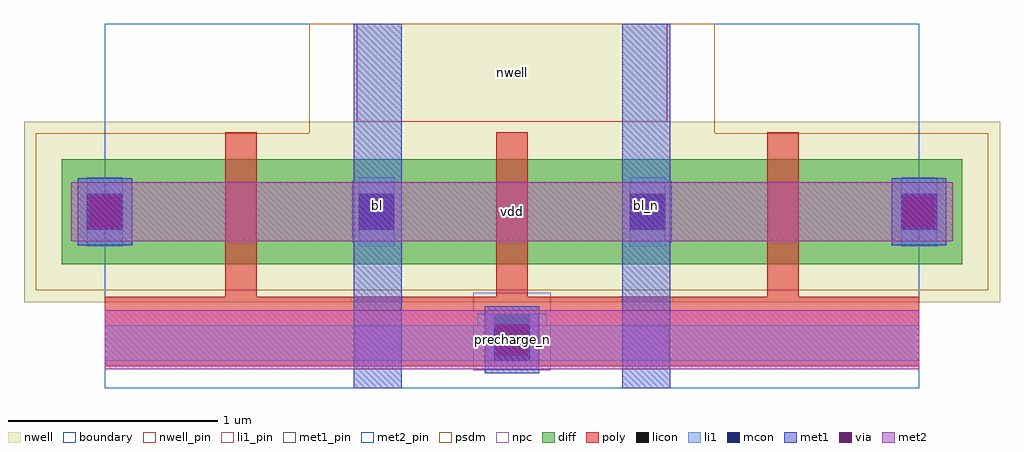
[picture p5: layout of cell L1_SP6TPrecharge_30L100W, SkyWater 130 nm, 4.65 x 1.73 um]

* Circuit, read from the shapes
.subckt L1_SP6TPrecharge_30L100W bl bl_n nwell precharge_n vdd
XM1 bl precharge_n vdd nwell sky130_fd_pr__pfet_01v8 w=0.5 l=0.15
XM2 bl_n precharge_n bl nwell sky130_fd_pr__pfet_01v8 w=0.5 l=0.15
XM3 vdd precharge_n bl_n nwell sky130_fd_pr__pfet_01v8 w=0.5 l=0.15
.ends

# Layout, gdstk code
import gdstk
lib = gdstk.Library(unit=1e-6, precision=1e-09)
def R(c, l, rs):  # rectangles x0, y0, x1, y1
    for r in rs: c.add(gdstk.rectangle(r[:2], r[2:], *l))
def P(c, l, *ps):  # polygons
    for p in ps: c.add(gdstk.Polygon(p, *l))
nwell_pin = (64, 16)
nwell = (64, 20)
diff = (65, 20)
poly = (66, 20)
licon = (66, 44)
li1_pin = (67, 16)
li1 = (67, 20)
mcon = (67, 44)
met1_pin = (68, 16)
met1 = (68, 20)
via = (68, 44)
met2_pin = (69, 16)
met2 = (69, 20)
psdm = (94, 20)
npc = (95, 20)
boundary = (235, 4)

l1_sp6tprecharge_30l100w = lib.new_cell('L1_SP6TPrecharge_30L100W')
R(l1_sp6tprecharge_30l100w, nwell_pin, [(1.2,1.27,2.68,1.735)])
P(l1_sp6tprecharge_30l100w, nwell, [(-0.385,0.41),(-0.385,1.27),(1.2,1.27),(1.2,1.735),(2.68,1.735),(2.68,1.27),(4.265,1.27),(4.265,0.41)])
R(l1_sp6tprecharge_30l100w, diff, [(-0.205,0.59,4.085,1.09)])
P(l1_sp6tprecharge_30l100w, poly, [(0,0.105),(0,0.435),(0.575,0.435),(0.575,1.22),(0.725,1.22),(0.725,0.435),(1.865,0.435),(1.865,1.22),(2.015,1.22),(2.015,0.435),(3.155,0.435),(3.155,1.22),(3.305,1.22),(3.305,0.435),(3.88,0.435),(3.88,0.105)])
R(l1_sp6tprecharge_30l100w, licon, [(1.855,0.185,2.025,0.355), (-0.085,0.755,0.085,0.925), (1.21,0.755,1.38,0.925), (2.5,0.755,2.67,0.925), (3.795,0.755,3.965,0.925)])
R(l1_sp6tprecharge_30l100w, li1_pin, [(0,0.13,3.88,0.3)])
R(l1_sp6tprecharge_30l100w, li1, [(-0.085,0.675,0.085,1.005), (1.21,0.675,1.38,1.005), (2.5,0.675,2.67,1.005), (3.795,0.675,3.965,1.005)])
P(l1_sp6tprecharge_30l100w, li1, [(0,0.13),(0,0.3),(1.775,0.3),(1.775,0.355),(2.105,0.355),(2.105,0.3),(3.88,0.3),(3.88,0.13)])
R(l1_sp6tprecharge_30l100w, mcon, [(1.855,0.13,2.025,0.3), (-0.085,0.755,0.085,0.925), (1.21,0.755,1.38,0.925), (2.5,0.755,2.67,0.925), (3.795,0.755,3.965,0.925)])
R(l1_sp6tprecharge_30l100w, met1_pin, [(1.185,0,1.415,1.735), (2.465,0,2.695,1.735)])
R(l1_sp6tprecharge_30l100w, met1, [(1.81,0.07,2.07,0.39), (-0.13,0.68,0.13,1), (3.75,0.68,4.01,1)])
P(l1_sp6tprecharge_30l100w, met1, [(2.465,0),(2.465,1.735),(2.695,1.735),(2.695,0.985),(2.7,0.985),(2.7,0.695),(2.695,0.695),(2.695,0)],
  [(1.185,0),(1.185,0.695),(1.18,0.695),(1.18,0.985),(1.185,0.985),(1.185,1.735),(1.415,1.735),(1.415,0)])
R(l1_sp6tprecharge_30l100w, via, [(1.865,0.155,2.015,0.305), (-0.075,0.765,0.075,0.915), (3.805,0.765,3.955,0.915)])
R(l1_sp6tprecharge_30l100w, met2_pin, [(0,0.09,3.88,0.37), (-0.16,0.7,4.04,0.98)])
R(l1_sp6tprecharge_30l100w, met2, [(0,0.09,3.88,0.37), (-0.16,0.7,4.04,0.98)])
P(l1_sp6tprecharge_30l100w, psdm, [(-0.33,0.465),(-0.33,1.215),(0.975,1.215),(0.975,1.735),(2.905,1.735),(2.905,1.215),(4.21,1.215),(4.21,0.465)])
R(l1_sp6tprecharge_30l100w, npc, [(1.755,0.085,2.125,0.455)])
R(l1_sp6tprecharge_30l100w, boundary, [(0,0,3.88,1.735)])
l1_sp6tprecharge_30l100w.add(gdstk.Label('bl_n', (2.58,0.868), layer=68, texttype=16))
l1_sp6tprecharge_30l100w.add(gdstk.Label('bl', (1.3,0.868), layer=68, texttype=16))
l1_sp6tprecharge_30l100w.add(gdstk.Label('nwell', (1.94,1.503), layer=64, texttype=16))
l1_sp6tprecharge_30l100w.add(gdstk.Label('vdd', (1.94,0.84), layer=69, texttype=16))
l1_sp6tprecharge_30l100w.add(gdstk.Label('precharge_n', (1.94,0.23), layer=69, texttype=16))
l1_sp6tprecharge_30l100w.add(gdstk.Label('precharge_n', (1.94,0.215), layer=67, texttype=16))

lib.write_gds('L1_SP6TPrecharge_30L100W.gds')
